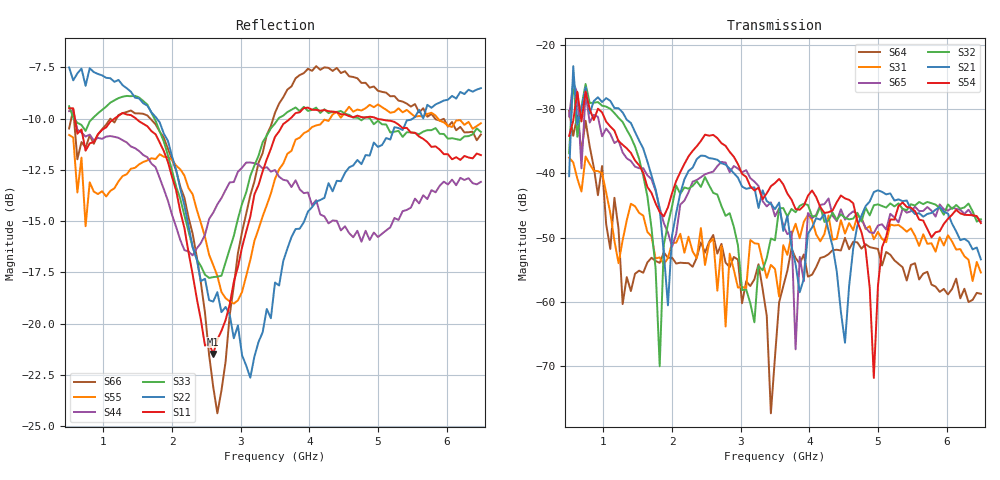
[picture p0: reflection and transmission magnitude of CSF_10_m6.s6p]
!Keysight Technologies,M9804A,MY58100912,A.14.10.03
!Date: Thursday, April 27, 2023 10:28:33
!Correction: S11(C  6-Port  )
!S12(C  6-Port  )
!S13(C  6-Port  )
!S14(C  6-Port  )
!S15(C  6-Port  )
!S16(C  6-Port  )
!S21(C  6-Port  )
!S22(C  6-Port  )
!S23(C  6-Port  )
!S24(C  6-Port  )
!S25(C  6-Port  )
!S26(C  6-Port  )
!S31(C  6-Port  )
!S32(C  6-Port  )
!S33(C  6-Port  )
!S34(C  6-Port  )
!S35(C  6-Port  )
!S36(C  6-Port  )
!S41(C  6-Port  )
!S42(C  6-Port  )
!S43(C  6-Port  )
!S44(C  6-Port  )
!S45(C  6-Port  )
!S46(C  6-Port  )
!S51(C  6-Port  )
!S52(C  6-Port  )
!S53(C  6-Port  )
!S54(C  6-Port  )
!S55(C  6-Port  )
!S56(C  6-Port  )
!S61(C  6-Port  )
!S62(C  6-Port  )
!S63(C  6-Port  )
!S64(C  6-Port  )
!S65(C  6-Port  )
!S66(C  6-Port  )
!S6P File: Measurement: :
# Hz S  RI  R 50
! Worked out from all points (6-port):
!   101 points, 500 MHz to 6.5 GHz, reference 50 ohm
!   strongest paths, dB at 500 MHz, 2 GHz, 3.5 GHz, 5 GHz, 6.5 GHz:
!     S54: -34.2, -43.1, -41.5, -57.5, -47.8
!     S21: -40.5, -49.7, -45.6, -42.6, -53.4
!     S32: -36.9, -45.1, -50.4, -44.8, -47.1
!     S65: -31.2, -51.4, -46.7, -48.1, -47.5
!     S31: -37.6, -50.9, -54.9, -49.1, -55.4
!     S64: -30.3, -53.1, -68.5, -51.8, -58.8
!   lowest |S11| = -21.5 dB at 2.6 GHz (marker M1), VSWR 1.18, Z = 42.5 + j1.98 ohm
!   |S11| at or under -10 dB: 584.1 MHz to 1.162 GHz (577.9 MHz wide, 66.2 % of centre); 1.474 GHz to 3.722 GHz (2.248 GHz wide, 86.6 % of centre); 4.984 GHz to end of sweep
